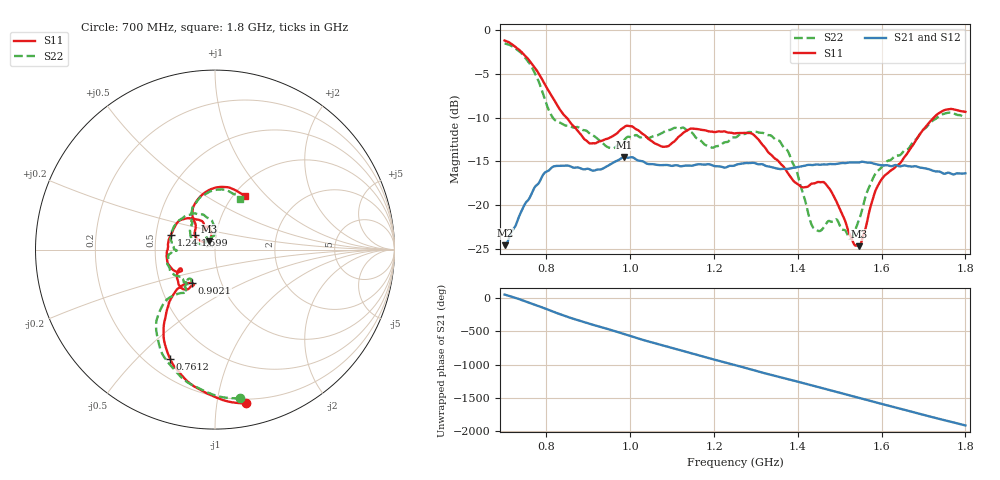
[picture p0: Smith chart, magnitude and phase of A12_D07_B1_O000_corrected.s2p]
! Created with skrf 1.9.0 (http://scikit-rf.org).
# Hz S RI R 50.0
!freq ReS11 ImS11 ReS21 ImS21 ReS12 ImS12 ReS22 ImS22
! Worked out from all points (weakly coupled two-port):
!   1601 points, 700 MHz to 1.8 GHz, reference 50 ohm
!   highest |S21| = -14.50 dB at 985.3 MHz (marker M1); lowest = -24.6 dB at 700.7 MHz (marker M2)
!   lowest |S11| = -24.7 dB at 1.546 GHz (marker M3), VSWR 1.12, Z = 46.6 + j4.51 ohm
!   |S11| at or under -10 dB: 847.9 MHz to 1.724 GHz (876.6 MHz wide, 68.2 % of centre)
!   |S22| runs from -23.9 to -1.5 dB; largest |S21 - S12| = 0.0037
!   S11 on the Smith chart (normalised r, x): 700 MHz: 0.17, -1.21; 761.2 MHz: 0.29, -0.63; 902.1 MHz: 0.73, -0.28; 1.24 GHz: 0.60, +0.11; 1.599 GHz: 0.79, +0.13; 1.8 GHz: 1.13, +0.76
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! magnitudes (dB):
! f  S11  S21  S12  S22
! 700 MHz  -1.2  -24.6  -24.4  -1.5
! 700.7 MHz  -1.2  -24.6  -24.3  -1.5
! 761.2 MHz  -3.6  -19.0  -18.9  -3.9
! 816.9 MHz  -7.9  -15.6  -15.7  -10.1
! 883.6 MHz  -12.0  -15.8  -15.7  -11.4
! 902.1 MHz  -12.9  -15.9  -15.9  -11.8
! 953.7 MHz  -12.2  -15.3  -15.3  -13.5
! 985.3 MHz  -11.1  -14.5  -14.6  -12.6
! 1.067 GHz  -13.1  -15.4  -15.4  -12.0
! 1.24 GHz  -11.7  -15.5  -15.6  -12.5
! 1.25 GHz  -11.8  -15.5  -15.4  -12.3
! 1.293 GHz  -11.9  -15.2  -15.2  -11.7
! 1.357 GHz  -15.2  -15.9  -15.8  -12.7
! 1.395 GHz  -17.5  -15.7  -15.7  -15.8
! 1.434 GHz  -17.5  -15.4  -15.4  -22.3
! 1.473 GHz  -18.0  -15.3  -15.3  -21.8
! 1.526 GHz  -23.6  -15.1  -15.1  -23.9
! 1.546 GHz  -24.7  -15.1  -15.1  -21.8
! 1.599 GHz  -17.1  -15.5  -15.4  -15.7
! 1.617 GHz  -16.2  -15.5  -15.5  -14.9
! 1.733 GHz  -9.6  -16.2  -16.2  -10.0
! 1.8 GHz  -9.3  -16.4  -16.4  -10.0
